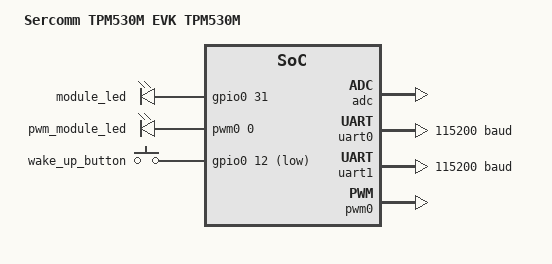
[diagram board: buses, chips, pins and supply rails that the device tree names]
/*
 * Copyright (c) 2025 Nordic Semiconductor ASA
 *
 * SPDX-License-Identifier: LicenseRef-Nordic-5-Clause
 */
#include "tpm530mevk_tpm530m_common-pinctrl.dtsi"
#include <zephyr/dt-bindings/input/input-event-codes.h>

/ {
	model = "Sercomm TPM530M EVK TPM530M";
	compatible = "sercomm,tpm530m-evk-tpm530m";

	chosen {
		zephyr,console = &uart0;
		zephyr,shell-uart = &uart0;
		zephyr,uart-mcumgr = &uart0;
	};

	leds {
		compatible = "gpio-leds";
		module_led: module_led {
			gpios = <&gpio0 31 GPIO_ACTIVE_HIGH>;
		};
	};

	pwmleds {
		compatible = "pwm-leds";
		pwm_module_led: pwm_module_led {
			pwms = <&pwm0 0 PWM_MSEC(20) PWM_POLARITY_NORMAL>;
		};
	};

	buttons {
		compatible = "gpio-keys";
		wake_up_button: wake_up_button {
			gpios = <&gpio0 12 (GPIO_PULL_UP | GPIO_ACTIVE_LOW)>;
			zephyr,code = <INPUT_KEY_0>;
		};
	};

	/* These aliases are provided for compatibility with samples */
	aliases {
		led0 = &module_led;
		pwm-led0 = &pwm_module_led;
		sw0 = &wake_up_button;
		bootloader-led0 = &module_led;
		mcuboot-button0 = &wake_up_button;
		mcuboot-led0 = &module_led;
		watchdog0 = &wdt0;
	};
};

&adc {
	status = "okay";
};

&gpiote {
	status = "okay";
};

&gpio0 {
	status = "okay";
};

&uart0 {
	status = "okay";
	current-speed = <115200>;
	pinctrl-0 = <&uart0_default>;
	pinctrl-1 = <&uart0_sleep>;
	pinctrl-names = "default", "sleep";
};

&uart1 {
	status = "okay";
	current-speed = <115200>;
	pinctrl-0 = <&uart1_default>;
	pinctrl-1 = <&uart1_sleep>;
	pinctrl-names = "default", "sleep";
};

&i2c2 {
	compatible = "nordic,nrf-twim";
	status = "disabled";
	pinctrl-0 = <&i2c2_default>;
	pinctrl-1 = <&i2c2_sleep>;
	pinctrl-names = "default", "sleep";
	clock-frequency = <I2C_BITRATE_FAST>;
};

&spi3 {
	compatible = "nordic,nrf-spim";
	status = "disabled";
	pinctrl-0 = <&spi3_default>;
	pinctrl-1 = <&spi3_sleep>;
	wake-gpios = <&gpio0 0 GPIO_PULL_UP>;
	pinctrl-names = "default", "sleep";

};

&pwm0 {
	status = "okay";
	pinctrl-0 = <&pwm0_default>;
	pinctrl-1 = <&pwm0_sleep>;
	pinctrl-names = "default", "sleep";
};

/* Include default memory partition configuration file */
#include <nordic/nrf91xx_partition.dtsi>
